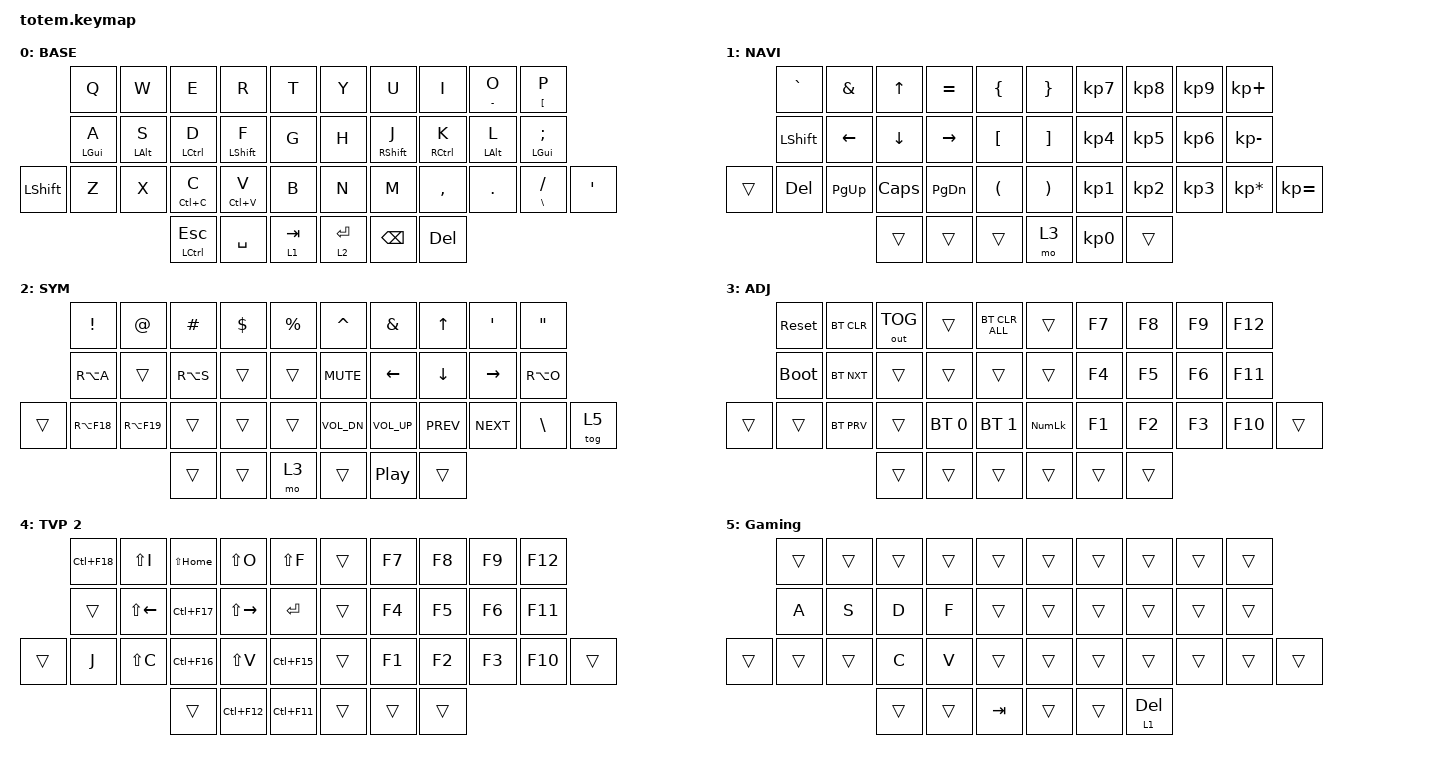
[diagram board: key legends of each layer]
//
//                                                        ▀▀▀▀▀     ▀▀▀▀▀          ▀▀█▀▀
//                                                        ▄▀▀▀▄  ▄  ▄▀▀▀▄  ▄  ▄▀▀▀▄  █  ▄▀▀▀▄
//                                                        █   █  █  █   █  █  █   █  █  █   █
//                                                         ▀▀▀   █   ▀▀▀   █   ▀▀▀   ▀   ▀▀▀
//                                                               █      ▄▄▄█▄▄▄    █   █  
//                                                               ▀      █  █  █     █▄█
//                                                             ▀▀▀▀▀    █  █  █      ▀
//                                                                      ▀  ▀  ▀
//
// ▄▄▄▄▄▄▄▄▄▄▄▄▄▄▄▄▄▄▄▄▄▄▄▄▄▄▄▄▄▄▄▄▄▄▄▄▄▄▄▄▄▄▄▄▄▄▄▄▄▄▄▄▄▄▄▄▄▄▄▄▄▄▄▄▄▄▄▄▄▄▄▄▄▄▄▄▄▄▄▄▄▄▄▄▄▄▄▄▄▄▄▄▄▄▄▄▄▄▄▄▄▄▄▄▄▄▄▄▄▄▄▄▄▄▄▄▄▄▄▄▄▄▄▄▄▄▄▄▄▄▄▄▄▄▄▄▄▄▄▄▄▄▄▄▄▄▄▄▄

#include <behaviors.dtsi>
#include <dt-bindings/zmk/bt.h>
#include <dt-bindings/zmk/keys.h>
#include <dt-bindings/zmk/outputs.h>

#define BASE 0
#define NAV  1
#define SYM  2
#define ADJ  3
#define TVP1 4
#define TVP2 5

// Key positions for "timeless" home row mods (urob/zmk-config).
//      0  1  2  3  4      5  6  7  8  9
//     10 11 12 13 14     15 16 17 18 19
//  20 21 22 23 24 25     26 27 28 29 30 31
//           32 33 34     35 36 37

#define KEYS_L 0 1 2 3 4 10 11 12 13 14 20 21 22 23 24 25
#define KEYS_R 5 6 7 8 9 15 16 17 18 19 26 27 28 29 30 31
#define THUMBS 32 33 34 35 36 37

&mt {
    global-quick-tap;
    flavor = "tap-preferred";
    tapping-term-ms = <200>;
};

/ {
    combos { compatible = "zmk,combos"; };

    behaviors {
        // Timeless home row mods: a hold only resolves when a key on the
        // opposite hand (or a thumb) is pressed AND released while the mod is
        // held, or after the long tapping term. Typing fast right after
        // another key (require-prior-idle-ms) always gives the tap.

        hml: homerow_mods_left {
            compatible = "zmk,behavior-hold-tap";
            #binding-cells = <2>;
            bindings = <&kp>, <&kp>;

            flavor = "balanced";
            tapping-term-ms = <280>;
            quick-tap-ms = <175>;
            require-prior-idle-ms = <150>;
            hold-trigger-key-positions = <KEYS_R THUMBS>;
            hold-trigger-on-release;
        };

        hmr: homerow_mods_right {
            compatible = "zmk,behavior-hold-tap";
            #binding-cells = <2>;
            bindings = <&kp>, <&kp>;

            flavor = "balanced";
            tapping-term-ms = <280>;
            quick-tap-ms = <175>;
            require-prior-idle-ms = <150>;
            hold-trigger-key-positions = <KEYS_L THUMBS>;
            hold-trigger-on-release;
        };

        // Shift-only variants for F / J. Same as hml/hmr but WITHOUT
        // require-prior-idle-ms, so Shift can engage mid-word (camelCase)
        // instead of being forced to a tap after a recent keypress.
        // Same-hand rolls are still safe thanks to hold-trigger-key-positions.

        hml_shift: homerow_mods_left_shift {
            compatible = "zmk,behavior-hold-tap";
            #binding-cells = <2>;
            bindings = <&kp>, <&kp>;

            flavor = "balanced";
            tapping-term-ms = <280>;
            quick-tap-ms = <175>;
            hold-trigger-key-positions = <KEYS_R THUMBS>;
            hold-trigger-on-release;
        };

        hmr_shift: homerow_mods_right_shift {
            compatible = "zmk,behavior-hold-tap";
            #binding-cells = <2>;
            bindings = <&kp>, <&kp>;

            flavor = "balanced";
            tapping-term-ms = <280>;
            quick-tap-ms = <175>;
            hold-trigger-key-positions = <KEYS_L THUMBS>;
            hold-trigger-on-release;
        };

        AlphaHold: AlphaHold {
            compatible = "zmk,behavior-hold-tap";
            label = "ALPHAHOLD";
            bindings = <&kp>, <&kp>;

            #binding-cells = <2>;
            tapping-term-ms = <200>;
            flavor = "tap-preferred";
        };
    };

    keymap {
        compatible = "zmk,keymap";

        // ▄▄▄▄▄▄▄▄▄▄▄▄▄▄▄▄▄▄▄▄▄▄▄▄▄▄▄▄▄▄▄▄▄▄▄▄▄▄▄▄▄▄▄▄▄▄▄▄▄▄▄▄▄▄▄▄▄▄▄▄▄▄▄▄▄▄▄▄▄▄▄▄▄▄▄▄▄▄▄▄▄▄▄▄▄▄▄▄▄▄▄▄▄▄▄▄▄▄▄▄▄▄▄▄▄▄▄▄▄▄▄▄▄▄▄▄▄▄▄▄▄▄▄▄▄▄▄▄▄▄▄▄▄▄▄▄▄▄▄▄▄▄▄▄▄▄▄▄▄

        base_layer {
            // ┏━━━━━━━━━━━━━━━━━━━━━━━━━━━━━━━━━━━━━━━┓

            label = "BASE";

            // ┗━━━━━━━━━━━━━━━━━━━━━━━━━━━━━━━━━━━━━━━┛
            //             ┏━━━━━━━━━━━┳━━━━━━━━━━━┳━━━━━━━━━━━┳━━━━━━━━━━━┳━━━━━━━━━━━┓   ┏━━━━━━━━━━━┳━━━━━━━━━━━┳━━━━━━━━━━━┳━━━━━━━━━━━┳━━━━━━━━━━━┓
            //             ┃     Q     ┃     W     ┃     F     ┃     P     ┃     G     ┃   ┃     J     ┃     L     ┃     U     ┃     Y     ┃     ;     ┃
            //             ┣━━━━━━━━━━━╋━━━━━━━━━━━╋━━━━━━━━━━━╋━━━━━━━━━━━╋━━━━━━━━━━━┫   ┣━━━━━━━━━━━╋━━━━━━━━━━━╋━━━━━━━━━━━╋━━━━━━━━━━━╋━━━━━━━━━━━┫
            //             ┃     A     ┃     R     ┃     S     ┃     T     ┃     D     ┃   ┃     H     ┃     N     ┃     E     ┃     I     ┃     O     ┃
            // ┏━━━━━━━━━━━╋━━━━━━━━━━━╋━━━━━━━━━━━╋━━━━━━━━━━━╋━━━━━━━━━━━╋━━━━━━━━━━━┫   ┣━━━━━━━━━━━╋━━━━━━━━━━━╋━━━━━━━━━━━╋━━━━━━━━━━━╋━━━━━━━━━━━╋━━━━━━━━━━━┓
            // ┃     Q     ┃     Z     ┃     X     ┃     C     ┃     V     ┃     B     ┃   ┃     K     ┃     M     ┃     ,     ┃     .     ┃     /     ┃     \     ┃
            // ┗━━━━━━━━━━━┻━━━━━━━━━━━┻━━━━━━━━━━━╋━━━━━━━━━━━╋━━━━━━━━━━━╋━━━━━━━━━━━┫   ┣━━━━━━━━━━━╋━━━━━━━━━━━╋━━━━━━━━━━━╋━━━━━━━━━━━┻━━━━━━━━━━━┻━━━━━━━━━━━┛
            //                                     ┃    DEL    ┃    TAB    ┃    SPC    ┃   ┃   ENTER   ┃           ┃   BSPC    ┃
            //                                     ┗━━━━━━━━━━━┻━━━━━━━━━━━┻━━━━━━━━━━━┛   ┗━━━━━━━━━━━┻━━━━━━━━━━━┻━━━━━━━━━━━┛

            bindings = <
                &kp Q        &kp W        &kp E                    &kp R               &kp T        &kp Y        &kp U               &kp I         &AlphaHold MINUS O  &mt LEFT_BRACKET P
                &hml LGUI A  &hml LALT S  &hml LCTRL D             &hml_shift LSHFT F  &kp G        &kp H        &hmr_shift RSHFT J  &hmr RCTRL K  &hmr LALT L         &hmr LGUI SEMICOLON
&kp LEFT_SHIFT  &kp Z        &kp X        &AlphaHold LC(C) C       &AlphaHold LC(V) V  &kp B        &kp N        &kp M               &kp COMMA     &kp DOT             &AlphaHold BACKSLASH SLASH  &kp SQT
                                          &mt LEFT_CONTROL ESCAPE  &kp SPACE           &lt 1 TAB    &lt 2 ENTER  &kp BACKSPACE       &kp DELETE
            >;
        };

        // ▄▄▄▄▄▄▄▄▄▄▄▄▄▄▄▄▄▄▄▄▄▄▄▄▄▄▄▄▄▄▄▄▄▄▄▄▄▄▄▄▄▄▄▄▄▄▄▄▄▄▄▄▄▄▄▄▄▄▄▄▄▄▄▄▄▄▄▄▄▄▄▄▄▄▄▄▄▄▄▄▄▄▄▄▄▄▄▄▄▄▄▄▄▄▄▄▄▄▄▄▄▄▄▄▄▄▄▄▄▄▄▄▄▄▄▄▄▄▄▄▄▄▄▄▄▄▄▄▄▄▄▄▄▄▄▄▄▄▄▄▄▄▄▄▄▄▄▄▄

        nav_layer {
            // ┏━━━━━━━━━━━━━━━━━━━━━━━━━━━━━━━━━━━━━━━┓

            label = "NAVI";

            // ┗━━━━━━━━━━━━━━━━━━━━━━━━━━━━━━━━━━━━━━━┛
            //             ┏━━━━━━━━━━━┳━━━━━━━━━━━┳━━━━━━━━━━━┳━━━━━━━━━━━┳━━━━━━━━━━━┓   ┏━━━━━━━━━━━┳━━━━━━━━━━━┳━━━━━━━━━━━┳━━━━━━━━━━━┳━━━━━━━━━━━┓
            //             ┃           ┃           ┃     UP    ┃           ┃     {     ┃   ┃     }     ┃     7     ┃     8     ┃     9     ┃     +     ┃
            //             ┣━━━━━━━━━━━╋━━━━━━━━━━━╋━━━━━━━━━━━╋━━━━━━━━━━━╋━━━━━━━━━━━┫   ┣━━━━━━━━━━━╋━━━━━━━━━━━╋━━━━━━━━━━━╋━━━━━━━━━━━╋━━━━━━━━━━━┫
            //             ┃   SHIFT   ┃   LEFT    ┃    DOWN   ┃   RIGHT   ┃     [     ┃   ┃     ]     ┃     4     ┃     5     ┃     6     ┃     -     ┃
            // ┏━━━━━━━━━━━╋━━━━━━━━━━━╋━━━━━━━━━━━╋━━━━━━━━━━━╋━━━━━━━━━━━╋━━━━━━━━━━━┫   ┣━━━━━━━━━━━╋━━━━━━━━━━━╋━━━━━━━━━━━╋━━━━━━━━━━━╋━━━━━━━━━━━╋━━━━━━━━━━━┓
            // ┃           ┃           ┃   P UP    ┃  C LOCK   ┃  P DOWN   ┃     (     ┃   ┃     )     ┃     1     ┃     2     ┃     3     ┃     *     ┃           ┃
            // ┗━━━━━━━━━━━┻━━━━━━━━━━━┻━━━━━━━━━━━╋━━━━━━━━━━━╋━━━━━━━━━━━╋━━━━━━━━━━━┫   ┣━━━━━━━━━━━╋━━━━━━━━━━━╋━━━━━━━━━━━╋━━━━━━━━━━━┻━━━━━━━━━━━┻━━━━━━━━━━━┛
            //                                     ┃           ┃    TAB    ┃    SPC    ┃   ┃    DEL    ┃     0     ┃           ┃
            //                                     ┗━━━━━━━━━━━┻━━━━━━━━━━━┻━━━━━━━━━━━┛   ┗━━━━━━━━━━━┻━━━━━━━━━━━┻━━━━━━━━━━━┛

            bindings = <
        &kp GRAVE  &kp AMPERSAND  &kp UP    &kp EQUAL  &kp LBRC    &kp RBRC  &kp KP_N7  &kp KP_N8  &kp KP_N9  &kp KP_PLUS
        &kp LSHFT  &kp LEFT       &kp DOWN  &kp RIGHT  &kp LBKT    &kp RBKT  &kp KP_N4  &kp KP_N5  &kp KP_N6  &kp KP_MINUS
&trans  &kp DEL    &kp PG_UP      &kp CAPS  &kp PG_DN  &kp LPAR    &kp RPAR  &kp KP_N1  &kp KP_N2  &kp KP_N3  &kp KP_MULTIPLY  &kp KP_EQUAL
                                  &trans    &trans     &trans      &mo 3     &kp KP_N0  &trans
            >;
        };

        // ▄▄▄▄▄▄▄▄▄▄▄▄▄▄▄▄▄▄▄▄▄▄▄▄▄▄▄▄▄▄▄▄▄▄▄▄▄▄▄▄▄▄▄▄▄▄▄▄▄▄▄▄▄▄▄▄▄▄▄▄▄▄▄▄▄▄▄▄▄▄▄▄▄▄▄▄▄▄▄▄▄▄▄▄▄▄▄▄▄▄▄▄▄▄▄▄▄▄▄▄▄▄▄▄▄▄▄▄▄▄▄▄▄▄▄▄▄▄▄▄▄▄▄▄▄▄▄▄▄▄▄▄▄▄▄▄▄▄▄▄▄▄▄▄▄▄▄▄▄

        sim_layer {
            // ┏━━━━━━━━━━━━━━━━━━━━━━━━━━━━━━━━━━━━━━━┓

            label = "SYM";

            // ┗━━━━━━━━━━━━━━━━━━━━━━━━━━━━━━━━━━━━━━━┛
            //             ┏━━━━━━━━━━━┳━━━━━━━━━━━┳━━━━━━━━━━━┳━━━━━━━━━━━┳━━━━━━━━━━━┓   ┏━━━━━━━━━━━┳━━━━━━━━━━━┳━━━━━━━━━━━┳━━━━━━━━━━━┳━━━━━━━━━━━┓
            //             ┃     !     ┃     @     ┃     #     ┃     $     ┃     %     ┃   ┃     ˆ     ┃     &     ┃     Ü     ┃     '     ┃     "     ┃
            //             ┣━━━━━━━━━━━╋━━━━━━━━━━━╋━━━━━━━━━━━╋━━━━━━━━━━━╋━━━━━━━━━━━┫   ┣━━━━━━━━━━━╋━━━━━━━━━━━╋━━━━━━━━━━━╋━━━━━━━━━━━╋━━━━━━━━━━━┫
            //             ┃     Ä     ┃           ┃    SZ     ┃           ┃           ┃   ┃   MUTE    ┃   YEN     ┃   EURO    ┃  POUND    ┃     Ö     ┃
            // ┏━━━━━━━━━━━╋━━━━━━━━━━━╋━━━━━━━━━━━╋━━━━━━━━━━━╋━━━━━━━━━━━╋━━━━━━━━━━━┫   ┣━━━━━━━━━━━╋━━━━━━━━━━━╋━━━━━━━━━━━╋━━━━━━━━━━━╋━━━━━━━━━━━╋━━━━━━━━━━━┓
            // ┃           ┃  EMAIL1   ┃  EMAIL2   ┃           ┃           ┃           ┃   ┃   VOL-    ┃   VOL+    ┃   LAST    ┃   NEXT    ┃     \     ┃           ┃
            // ┗━━━━━━━━━━━┻━━━━━━━━━━━┻━━━━━━━━━━━╋━━━━━━━━━━━╋━━━━━━━━━━━╋━━━━━━━━━━━┫   ┣━━━━━━━━━━━╋━━━━━━━━━━━╋━━━━━━━━━━━╋━━━━━━━━━━━┻━━━━━━━━━━━┻━━━━━━━━━━━┛
            //                                     ┃           ┃           ┃    ADJ    ┃   ┃           ┃           ┃           ┃
            //                                     ┗━━━━━━━━━━━┻━━━━━━━━━━━┻━━━━━━━━━━━┛   ┗━━━━━━━━━━━┻━━━━━━━━━━━┻━━━━━━━━━━━┛

            bindings = <
        &kp EXCL     &kp AT       &kp HASH   &kp DLLR  &kp PRCNT    &kp CARET     &kp AMPS        &kp UP_ARROW    &kp SQT          &kp DQT
        &kp RA(A)    &trans       &kp RA(S)  &trans    &trans       &kp C_MUTE    &kp LEFT_ARROW  &kp DOWN_ARROW  &kp RIGHT_ARROW  &kp RA(O)
&trans  &kp RA(F18)  &kp RA(F19)  &trans     &trans    &trans       &kp C_VOL_DN  &kp C_VOL_UP    &kp C_PREV      &kp C_NEXT       &kp BSLH   &tog 5
                                  &trans     &trans    &mo 3        &trans        &kp C_PP        &trans
            >;
        };

        // ▄▄▄▄▄▄▄▄▄▄▄▄▄▄▄▄▄▄▄▄▄▄▄▄▄▄▄▄▄▄▄▄▄▄▄▄▄▄▄▄▄▄▄▄▄▄▄▄▄▄▄▄▄▄▄▄▄▄▄▄▄▄▄▄▄▄▄▄▄▄▄▄▄▄▄▄▄▄▄▄▄▄▄▄▄▄▄▄▄▄▄▄▄▄▄▄▄▄▄▄▄▄▄▄▄▄▄▄▄▄▄▄▄▄▄▄▄▄▄▄▄▄▄▄▄▄▄▄▄▄▄▄▄▄▄▄▄▄▄▄▄▄▄▄▄▄▄▄▄

        adjust_layer {
            // ┏━━━━━━━━━━━━━━━━━━━━━━━━━━━━━━━━━━━━━━━┓

            label = "ADJ";

            // ┗━━━━━━━━━━━━━━━━━━━━━━━━━━━━━━━━━━━━━━━┛
            //             ┏━━━━━━━━━━━┳━━━━━━━━━━━┳━━━━━━━━━━━┳━━━━━━━━━━━┳━━━━━━━━━━━┓   ┏━━━━━━━━━━━┳━━━━━━━━━━━┳━━━━━━━━━━━┳━━━━━━━━━━━┳━━━━━━━━━━━┓
            //             ┃   RESET   ┃ BT CLEAR  ┃  OUT TOG  ┃           ┃           ┃   ┃           ┃    F7     ┃    F8     ┃    F9     ┃    F12    ┃
            //             ┣━━━━━━━━━━━╋━━━━━━━━━━━╋━━━━━━━━━━━╋━━━━━━━━━━━╋━━━━━━━━━━━┫   ┣━━━━━━━━━━━╋━━━━━━━━━━━╋━━━━━━━━━━━╋━━━━━━━━━━━╋━━━━━━━━━━━┫
            //             ┃ BOOTLOAD  ┃ BT NEXT   ┃           ┃           ┃           ┃   ┃           ┃    F4     ┃    F5     ┃    F6     ┃    F11    ┃
            // ┏━━━━━━━━━━━╋━━━━━━━━━━━╋━━━━━━━━━━━╋━━━━━━━━━━━╋━━━━━━━━━━━╋━━━━━━━━━━━┫   ┣━━━━━━━━━━━╋━━━━━━━━━━━╋━━━━━━━━━━━╋━━━━━━━━━━━╋━━━━━━━━━━━╋━━━━━━━━━━━┓
            // ┃           ┃           ┃ BT PREV   ┃           ┃           ┃           ┃   ┃           ┃    F1     ┃    F2     ┃    F3     ┃    F10    ┃           ┃
            // ┗━━━━━━━━━━━┻━━━━━━━━━━━┻━━━━━━━━━━━╋━━━━━━━━━━━╋━━━━━━━━━━━╋━━━━━━━━━━━┫   ┣━━━━━━━━━━━╋━━━━━━━━━━━╋━━━━━━━━━━━╋━━━━━━━━━━━┻━━━━━━━━━━━┻━━━━━━━━━━━┛
            //                                     ┃           ┃           ┃           ┃   ┃           ┃           ┃           ┃
            //                                     ┗━━━━━━━━━━━┻━━━━━━━━━━━┻━━━━━━━━━━━┛   ┗━━━━━━━━━━━┻━━━━━━━━━━━┻━━━━━━━━━━━┛

            bindings = <
        &sys_reset   &bt BT_CLR  &out OUT_TOG  &trans        &bt BT_CLR_ALL    &trans          &kp F7  &kp F8  &kp F9  &kp F12
        &bootloader  &bt BT_NXT  &trans        &trans        &trans            &trans          &kp F4  &kp F5  &kp F6  &kp F11
&trans  &trans       &bt BT_PRV  &trans        &bt BT_SEL 0  &bt BT_SEL 1      &kp KP_NUMLOCK  &kp F1  &kp F2  &kp F3  &kp F10  &trans
                                 &trans        &trans        &trans            &trans          &trans  &trans
            >;
        };

        // ▄▄▄▄▄▄▄▄▄▄▄▄▄▄▄▄▄▄▄▄▄▄▄▄▄▄▄▄▄▄▄▄▄▄▄▄▄▄▄▄▄▄▄▄▄▄▄▄▄▄▄▄▄▄▄▄▄▄▄▄▄▄▄▄▄▄▄▄▄▄▄▄▄▄▄▄▄▄▄▄▄▄▄▄▄▄▄▄▄▄▄▄▄▄▄▄▄▄▄▄▄▄▄▄▄▄▄▄▄▄▄▄▄▄▄▄▄▄▄▄▄▄▄▄▄▄▄▄▄▄▄▄▄▄▄▄▄▄▄▄▄▄▄▄▄▄▄▄▄
        // ▄▄▄▄▄▄▄▄▄▄▄▄▄▄▄▄▄▄▄▄▄▄▄▄▄▄▄▄▄▄▄▄▄▄▄▄▄▄▄▄▄▄▄▄▄▄▄▄▄▄▄▄▄▄▄▄▄▄▄▄▄▄▄▄▄▄▄▄▄▄▄▄▄▄▄▄▄▄▄▄▄▄▄▄▄▄▄▄▄▄▄▄▄▄▄▄▄▄▄▄▄▄▄▄▄▄▄▄▄▄▄▄▄▄▄▄▄▄▄▄▄▄▄▄▄▄▄▄▄▄▄▄▄▄▄▄▄▄▄▄▄▄▄▄▄▄▄▄▄

        tvp2_layer {
            // ┏━━━━━━━━━━━━━━━━━━━━━━━━━━━━━━━━━━━━━━━┓

            label = "TVP 2";

            // ┗━━━━━━━━━━━━━━━━━━━━━━━━━━━━━━━━━━━━━━━┛
            //             ┏━━━━━━━━━━━┳━━━━━━━━━━━┳━━━━━━━━━━━┳━━━━━━━━━━━┳━━━━━━━━━━━┓   ┏━━━━━━━━━━━┳━━━━━━━━━━━┳━━━━━━━━━━━┳━━━━━━━━━━━┳━━━━━━━━━━━┓
            //             ┃ SOLO      ┃ TOGGLE IN ┃ RESET ROT ┃ TOGGLE OUT┃ TAKE SNAP ┃   ┃           ┃           ┃           ┃           ┃           ┃
            //             ┣━━━━━━━━━━━╋━━━━━━━━━━━╋━━━━━━━━━━━╋━━━━━━━━━━━╋━━━━━━━━━━━┫   ┣━━━━━━━━━━━╋━━━━━━━━━━━╋━━━━━━━━━━━╋━━━━━━━━━━━╋━━━━━━━━━━━┫
            //             ┃ ---       ┃ LAST KEY  ┃ NEW KEY   ┃ NEXT KEY  ┃ ENTER     ┃   ┃           ┃           ┃           ┃           ┃           ┃
            // ┏━━━━━━━━━━━╋━━━━━━━━━━━╋━━━━━━━━━━━╋━━━━━━━━━━━╋━━━━━━━━━━━╋━━━━━━━━━━━┫   ┣━━━━━━━━━━━╋━━━━━━━━━━━╋━━━━━━━━━━━╋━━━━━━━━━━━╋━━━━━━━━━━━╋━━━━━━━━━━━┓
            // ┃           ┃ FULLSCR   ┃ CPY2BRUSH ┃ DEL HEAD  ┃ PSTinPLACE┃ BOOK MARK ┃   ┃           ┃           ┃           ┃           ┃           ┃           ┃
            // ┗━━━━━━━━━━━┻━━━━━━━━━━━┻━━━━━━━━━━━╋━━━━━━━━━━━╋━━━━━━━━━━━╋━━━━━━━━━━━┫   ┣━━━━━━━━━━━╋━━━━━━━━━━━╋━━━━━━━━━━━╋━━━━━━━━━━━┻━━━━━━━━━━━┻━━━━━━━━━━━┛
            //                                     ┃           ┃ REDO/SAV1 ┃TRANS/WARP ┃   ┃           ┃           ┃           ┃
            //                                     ┗━━━━━━━━━━━┻━━━━━━━━━━━┻━━━━━━━━━━━┛   ┗━━━━━━━━━━━┻━━━━━━━━━━━┻━━━━━━━━━━━┛

            bindings = <
        &kp LC(F18)  &kp LS(I)     &kp LS(HOME)  &kp LS(O)      &kp LS(F)      &trans  &kp F7  &kp F8  &kp F9  &kp F12
        &trans       &kp LS(LEFT)  &kp LC(F17)   &kp LS(RIGHT)  &kp RET        &trans  &kp F4  &kp F5  &kp F6  &kp F11
&trans  &kp J        &kp LS(C)     &kp LC(F16)   &kp LS(V)      &kp LC(F15)    &trans  &kp F1  &kp F2  &kp F3  &kp F10  &trans
                                   &trans        &kp LC(F12)    &kp LC(F11)    &trans  &trans  &trans
            >;
        };

        Gaming {
            bindings = <
        &trans  &trans  &trans  &trans  &trans     &trans  &trans  &trans        &trans  &trans
        &kp A   &kp S   &kp D   &kp F   &trans     &trans  &trans  &trans        &trans  &trans
&trans  &trans  &trans  &kp C   &kp V   &trans     &trans  &trans  &trans        &trans  &trans  &trans
                        &trans  &trans  &kp TAB    &trans  &trans  &lt 1 DELETE
            >;
        };
    };
};
